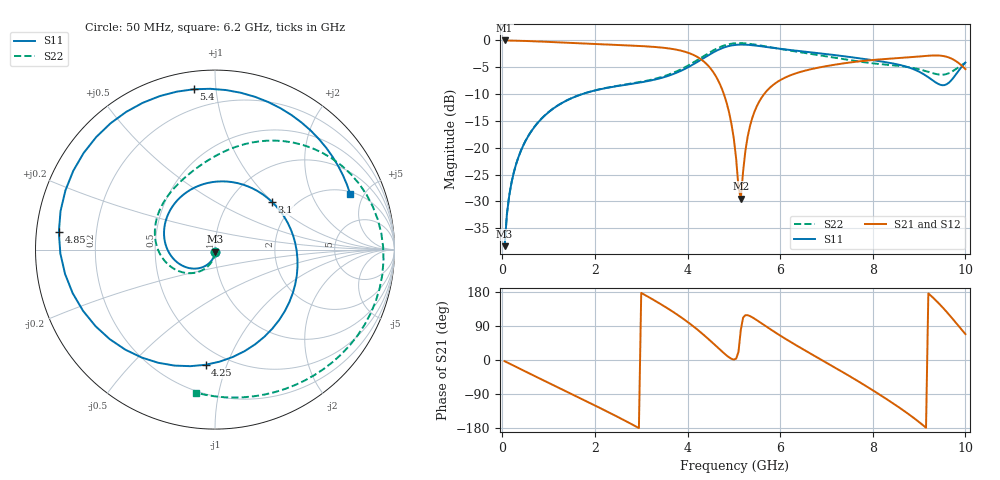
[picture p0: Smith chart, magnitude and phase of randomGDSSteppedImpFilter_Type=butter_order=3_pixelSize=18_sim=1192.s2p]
! freq	dB(S11)	phase(S11)	dB(S12)	phase(S12)
!  dB(S21)	phase(S21)	dB(S22)	phase(S22)
!S-par simulation data
#  GHz  S  DB  R 50
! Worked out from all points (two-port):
!   200 points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, 50 MHz to 10 GHz, reference 50 ohm
!   highest |S21| = -0.02 dB at 50 MHz (marker M1); lowest = -29.5 dB at 5.15 GHz (marker M2)
!   |S21| within 3 dB of the highest: start of sweep to 4.197 GHz; 8.985 GHz to 9.576 GHz (590.6 MHz wide, 6.36 % of centre)
!   lowest |S11| = -38.3 dB at 50 MHz (marker M3), VSWR 1.02, Z = 50.1 - j1.21 ohm
!   |S11| at or under -10 dB: start of sweep to 1.73 GHz
!   |S22| runs from -38.3 to -0.5 dB; largest |S21 - S12| = 0
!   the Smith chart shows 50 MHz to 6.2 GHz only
!   S11 on the Smith chart (normalised r, x): 50 MHz: 1.00, -0.02; 3.1 GHz: 1.55, +0.99; 4.25 GHz: 0.39, -0.84; 4.85 GHz: 0.07, +0.06; 5.4 GHz: 0.09, +0.87; 6.2 GHz: 2.14, +3.94
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0.05  -38.33 -86.1  -0.02 -3.1  -0.02 -3.1  -38.31 -85.4
0.2  -26.46 -101.8  -0.04 -12.2  -0.04 -12.2  -26.43 -99.0
0.5  -18.76 -123.8  -0.11 -30.4  -0.11 -30.4  -18.73 -116.7
1.15  -12.41 -168.6  -0.35 -69.3  -0.35 -69.3  -12.38 -151.1
1.75  -9.94 149.4  -0.60 -105.0  -0.60 -105.0  -9.92 179.3
2.5  -8.49 92.5  -0.87 -150.6  -0.87 -150.6  -8.45 145.0
3.1  -7.66 39.9  -1.11 170.2  -1.11 170.2  -7.55 119.5
3.4  -7.08 9.9  -1.31 149.0  -1.31 149.0  -6.92 107.1
3.85  -5.70 -41.4  -1.90 113.7  -1.90 113.7  -5.43 87.1
4.25  -3.82 -94.7  -3.29 76.6  -3.29 76.6  -3.46 64.6
4.55  -2.27 -139.5  -5.84 44.3  -5.84 44.3  -1.89 42.2
4.85  -1.16 173.7  -11.82 11.4  -11.82 11.4  -0.80 15.1
5.05  -0.83 143.7  -22.07 3.5  -22.07 3.5  -0.53 -3.9
5.15  -0.79 129.6  -29.46 79.4  -29.46 79.4  -0.51 -13.2
5.4  -0.90 97.6  -14.40 112.5  -14.40 112.5  -0.71 -35.2
6.2  -1.78 22.4  -6.58 49.5  -6.58 49.5  -1.89 -97.5
6.7  -2.26 -11.3  -5.31 13.8  -5.31 13.8  -2.57 -135.9
7.45  -3.04 -52.2  -4.19 -39.0  -4.19 -39.0  -3.61 158.1
8.35  -4.17 -96.2  -3.43 -107.3  -3.43 -107.3  -4.58 63.4
9.3  -7.49 175.6  -2.82 164.6  -2.82 164.6  -6.12 -24.9
9.7  -7.39 78.2  -3.40 112.2  -3.40 112.2  -5.87 -45.3
10  -4.13 14.4  -5.35 68.4  -5.35 68.4  -4.18 -69.7
